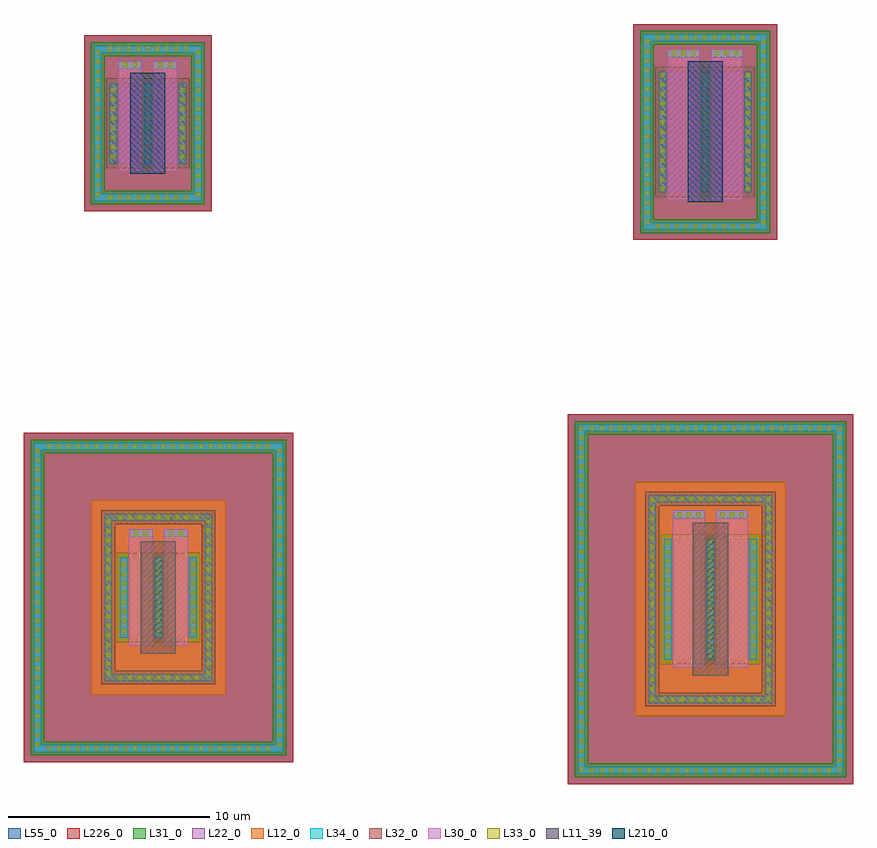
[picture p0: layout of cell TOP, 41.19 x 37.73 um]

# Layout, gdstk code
import gdstk
lib = gdstk.Library(unit=1e-6, precision=1e-09)
def R(c, l, rs):  # rectangles x0, y0, x1, y1
    for r in rs: c.add(gdstk.rectangle(r[:2], r[2:], *l))
def A(c, l, x, y, w, h, nx, ny, dx, dy):  # array of equal rectangles
    R(c, l, [(x+i*dx, y+j*dy, x+i*dx+w, y+j*dy+h) for i in range(nx) for j in range(ny)])
def P(c, l, *ps):  # polygons
    for p in ps: c.add(gdstk.Polygon(p, *l))
L11_39 = (11, 39)
L12_0 = (12, 0)
L22_0 = (22, 0)
L30_0 = (30, 0)
L31_0 = (31, 0)
L32_0 = (32, 0)
L33_0 = (33, 0)
L34_0 = (34, 0)
L55_0 = (55, 0)
L210_0 = (210, 0)
L226_0 = (226, 0)

nfet_10v0_asym = lib.new_cell('nfet_10v0_asym')
R(nfet_10v0_asym, L22_0, [(-1.91,-2,-0.47,2), (-0.11,-2,0.11,2), (0.47,-2,1.91,2)])
P(nfet_10v0_asym, L22_0, [(-2.67,-3.86),(-2.67,3.5),(-2.31,3.5),(-2.31,-3.5),(2.31,-3.5),(2.31,3.5),(-2.67,3.5),(-2.67,3.86),(2.67,3.86),(2.67,-3.86)])
R(nfet_10v0_asym, L30_0, [(-1.47,-2.4,-0.27,3.1), (0.27,-2.4,1.47,3.1)])
P(nfet_10v0_asym, L31_0, [(-2.83,-4.02),(-2.83,3.34),(-2.15,3.34),(-2.15,-3.34),(2.15,-3.34),(2.15,3.34),(-2.83,3.34),(-2.83,4.02),(2.83,4.02),(2.83,-4.02)])
R(nfet_10v0_asym, L32_0, [(-2.07,-2.23,2.07,2.23)])
A(nfet_10v0_asym, L33_0, -1.99, -3.79, 0.22, 0.22, 9, 2, 0.47, 7.36)
A(nfet_10v0_asym, L33_0, -2.6, -3.635, 0.22, 0.22, 1, 16, 0, 0.47)
A(nfet_10v0_asym, L33_0, 2.38, -3.635, 0.22, 0.22, 1, 16, 0, 0.47)
A(nfet_10v0_asym, L33_0, -1.84, -1.755, 0.22, 0.22, 3, 8, 1.73, 0.47)
R(nfet_10v0_asym, L33_0, [(-1.215,2.8,-0.995,3.02), (-0.745,2.8,-0.525,3.02), (0.525,2.8,0.745,3.02), (0.995,2.8,1.215,3.02)])
A(nfet_10v0_asym, L34_0, -1.91, -2, 0.38, 4, 3, 1, 1.72, 0)
R(nfet_10v0_asym, L34_0, [(-1.47,2.72,-0.27,3.1), (0.27,2.72,1.47,3.1)])
P(nfet_10v0_asym, L34_0, [(-2.67,-3.86),(-2.67,3.5),(-2.31,3.5),(-2.31,-3.5),(2.31,-3.5),(2.31,3.5),(-2.67,3.5),(-2.67,3.86),(2.67,3.86),(2.67,-3.86)])
R(nfet_10v0_asym, L55_0, [(-3.17,-4.36,3.17,4.36)])
R(nfet_10v0_asym, L210_0, [(-0.87,-2.5,0.87,2.5)])
R(nfet_10v0_asym, L226_0, [(-3.17,-4.36,3.17,4.36)])

nfet_10v0_asym_2 = lib.new_cell('nfet_10v0_asym$2')
R(nfet_10v0_asym_2, L22_0, [(-2.31,-3,-0.47,3), (-0.11,-3,0.11,3), (0.47,-3,2.31,3)])
P(nfet_10v0_asym_2, L22_0, [(-3.07,-4.86),(-3.07,4.5),(-2.71,4.5),(-2.71,-4.5),(2.71,-4.5),(2.71,4.5),(-3.07,4.5),(-3.07,4.86),(3.07,4.86),(3.07,-4.86)])
R(nfet_10v0_asym_2, L30_0, [(-1.87,-3.4,-0.27,4.1), (0.27,-3.4,1.87,4.1)])
P(nfet_10v0_asym_2, L31_0, [(-3.23,-5.02),(-3.23,4.34),(-2.55,4.34),(-2.55,-4.34),(2.55,-4.34),(2.55,4.34),(-3.23,4.34),(-3.23,5.02),(3.23,5.02),(3.23,-5.02)])
R(nfet_10v0_asym_2, L32_0, [(-2.47,-3.23,2.47,3.23)])
A(nfet_10v0_asym_2, L33_0, -2.46, -4.79, 0.22, 0.22, 11, 2, 0.47, 9.36)
A(nfet_10v0_asym_2, L33_0, -3, -4.575, 0.22, 0.22, 1, 20, 0, 0.47)
A(nfet_10v0_asym_2, L33_0, 2.78, -4.575, 0.22, 0.22, 1, 20, 0, 0.47)
A(nfet_10v0_asym_2, L33_0, -2.24, -2.93, 0.22, 0.22, 3, 13, 2.13, 0.47)
A(nfet_10v0_asym_2, L33_0, -1.65, 3.8, 0.22, 0.22, 3, 1, 0.47, 0)
A(nfet_10v0_asym_2, L33_0, 0.49, 3.8, 0.22, 0.22, 3, 1, 0.47, 0)
A(nfet_10v0_asym_2, L34_0, -2.31, -3, 0.38, 6, 3, 1, 2.12, 0)
R(nfet_10v0_asym_2, L34_0, [(-1.87,3.72,-0.27,4.1), (0.27,3.72,1.87,4.1)])
P(nfet_10v0_asym_2, L34_0, [(-3.07,-4.86),(-3.07,4.5),(-2.71,4.5),(-2.71,-4.5),(2.71,-4.5),(2.71,4.5),(-3.07,4.5),(-3.07,4.86),(3.07,4.86),(3.07,-4.86)])
R(nfet_10v0_asym_2, L55_0, [(-3.57,-5.36,3.57,5.36)])
R(nfet_10v0_asym_2, L210_0, [(-0.87,-3.5,0.87,3.5)])
R(nfet_10v0_asym_2, L226_0, [(-3.57,-5.36,3.57,5.36)])

pfet_10v0_asym_3 = lib.new_cell('pfet_10v0_asym$3')
R(pfet_10v0_asym_3, L11_39, [(-0.87,-2.8,0.87,2.8)])
R(pfet_10v0_asym_3, L12_0, [(-3.33,-4.82,3.33,4.82)])
R(pfet_10v0_asym_3, L22_0, [(-1.91,-2,-0.47,2), (-0.11,-2,0.11,2), (0.47,-2,1.91,2)])
P(pfet_10v0_asym_3, L22_0, [(-2.67,-4.16),(-2.67,3.8),(-2.31,3.8),(-2.31,-3.8),(2.31,-3.8),(2.31,3.8),(-2.67,3.8),(-2.67,4.16),(2.67,4.16),(2.67,-4.16)],
  [(-6.19,-7.68),(-6.19,7.32),(-5.83,7.32),(-5.83,-7.32),(5.83,-7.32),(5.83,7.32),(-6.19,7.32),(-6.19,7.68),(6.19,7.68),(6.19,-7.68)])
R(pfet_10v0_asym_3, L30_0, [(-1.47,-2.4,-0.27,3.4), (0.27,-2.4,1.47,3.4)])
R(pfet_10v0_asym_3, L31_0, [(-2.07,-2.23,2.07,2.23)])
P(pfet_10v0_asym_3, L31_0, [(-6.35,-7.84),(-6.35,7.16),(-5.67,7.16),(-5.67,-7.16),(5.67,-7.16),(5.67,7.16),(-6.35,7.16),(-6.35,7.84),(6.35,7.84),(6.35,-7.84)])
P(pfet_10v0_asym_3, L32_0, [(-2.83,-4.32),(-2.83,3.64),(-2.15,3.64),(-2.15,-3.64),(2.15,-3.64),(2.15,3.64),(-2.83,3.64),(-2.83,4.32),(2.83,4.32),(2.83,-4.32)])
A(pfet_10v0_asym_3, L33_0, -5.515, -7.61, 0.22, 0.22, 24, 2, 0.47, 15)
A(pfet_10v0_asym_3, L33_0, -6.12, -7.395, 0.22, 0.22, 1, 32, 0, 0.47)
A(pfet_10v0_asym_3, L33_0, 5.9, -7.395, 0.22, 0.22, 1, 32, 0, 0.47)
A(pfet_10v0_asym_3, L33_0, -1.99, -4.09, 0.22, 0.22, 9, 2, 0.47, 7.96)
A(pfet_10v0_asym_3, L33_0, -2.6, -3.87, 0.22, 0.22, 1, 17, 0, 0.47)
A(pfet_10v0_asym_3, L33_0, 2.38, -3.87, 0.22, 0.22, 1, 17, 0, 0.47)
A(pfet_10v0_asym_3, L33_0, -1.84, -1.755, 0.22, 0.22, 3, 8, 1.73, 0.47)
R(pfet_10v0_asym_3, L33_0, [(-1.215,3.1,-0.995,3.32), (-0.745,3.1,-0.525,3.32), (0.525,3.1,0.745,3.32), (0.995,3.1,1.215,3.32)])
A(pfet_10v0_asym_3, L34_0, -1.91, -2, 0.38, 4, 3, 1, 1.72, 0)
R(pfet_10v0_asym_3, L34_0, [(-1.47,3.02,-0.27,3.4), (0.27,3.02,1.47,3.4)])
P(pfet_10v0_asym_3, L34_0, [(-2.67,-4.16),(-2.67,3.8),(-2.31,3.8),(-2.31,-3.8),(2.31,-3.8),(2.31,3.8),(-2.67,3.8),(-2.67,4.16),(2.67,4.16),(2.67,-4.16)],
  [(-6.19,-7.68),(-6.19,7.32),(-5.83,7.32),(-5.83,-7.32),(5.83,-7.32),(5.83,7.32),(-6.19,7.32),(-6.19,7.68),(6.19,7.68),(6.19,-7.68)])
R(pfet_10v0_asym_3, L55_0, [(-6.69,-8.18,6.69,8.18)])
R(pfet_10v0_asym_3, L226_0, [(-6.69,-8.18,6.69,8.18)])

pfet_10v0_asym_2 = lib.new_cell('pfet_10v0_asym$2')
R(pfet_10v0_asym_2, L11_39, [(-0.87,-3.8,0.87,3.8)])
R(pfet_10v0_asym_2, L12_0, [(-3.73,-5.82,3.73,5.82)])
R(pfet_10v0_asym_2, L22_0, [(-2.31,-3,-0.47,3), (-0.11,-3,0.11,3), (0.47,-3,2.31,3)])
P(pfet_10v0_asym_2, L22_0, [(-3.07,-5.16),(-3.07,4.8),(-2.71,4.8),(-2.71,-4.8),(2.71,-4.8),(2.71,4.8),(-3.07,4.8),(-3.07,5.16),(3.07,5.16),(3.07,-5.16)],
  [(-6.59,-8.68),(-6.59,8.32),(-6.23,8.32),(-6.23,-8.32),(6.23,-8.32),(6.23,8.32),(-6.59,8.32),(-6.59,8.68),(6.59,8.68),(6.59,-8.68)])
R(pfet_10v0_asym_2, L30_0, [(-1.87,-3.4,-0.27,4.4), (0.27,-3.4,1.87,4.4)])
R(pfet_10v0_asym_2, L31_0, [(-2.47,-3.23,2.47,3.23)])
P(pfet_10v0_asym_2, L31_0, [(-6.75,-8.84),(-6.75,8.16),(-6.07,8.16),(-6.07,-8.16),(6.07,-8.16),(6.07,8.16),(-6.75,8.16),(-6.75,8.84),(6.75,8.84),(6.75,-8.84)])
P(pfet_10v0_asym_2, L32_0, [(-3.23,-5.32),(-3.23,4.64),(-2.55,4.64),(-2.55,-4.64),(2.55,-4.64),(2.55,4.64),(-3.23,4.64),(-3.23,5.32),(3.23,5.32),(3.23,-5.32)])
A(pfet_10v0_asym_2, L33_0, -5.985, -8.61, 0.22, 0.22, 26, 2, 0.47, 17)
A(pfet_10v0_asym_2, L33_0, -6.52, -8.57, 0.22, 0.22, 1, 37, 0, 0.47)
A(pfet_10v0_asym_2, L33_0, 6.3, -8.57, 0.22, 0.22, 1, 37, 0, 0.47)
A(pfet_10v0_asym_2, L33_0, -2.46, -5.09, 0.22, 0.22, 11, 2, 0.47, 9.96)
A(pfet_10v0_asym_2, L33_0, -3, -5.045, 0.22, 0.22, 1, 22, 0, 0.47)
A(pfet_10v0_asym_2, L33_0, 2.78, -5.045, 0.22, 0.22, 1, 22, 0, 0.47)
A(pfet_10v0_asym_2, L33_0, -2.24, -2.93, 0.22, 0.22, 3, 13, 2.13, 0.47)
A(pfet_10v0_asym_2, L33_0, -1.65, 4.1, 0.22, 0.22, 3, 1, 0.47, 0)
A(pfet_10v0_asym_2, L33_0, 0.49, 4.1, 0.22, 0.22, 3, 1, 0.47, 0)
A(pfet_10v0_asym_2, L34_0, -2.31, -3, 0.38, 6, 3, 1, 2.12, 0)
R(pfet_10v0_asym_2, L34_0, [(-1.87,4.02,-0.27,4.4), (0.27,4.02,1.87,4.4)])
P(pfet_10v0_asym_2, L34_0, [(-3.07,-5.16),(-3.07,4.8),(-2.71,4.8),(-2.71,-4.8),(2.71,-4.8),(2.71,4.8),(-3.07,4.8),(-3.07,5.16),(3.07,5.16),(3.07,-5.16)],
  [(-6.59,-8.68),(-6.59,8.32),(-6.23,8.32),(-6.23,-8.32),(6.23,-8.32),(6.23,8.32),(-6.59,8.32),(-6.59,8.68),(6.59,8.68),(6.59,-8.68)])
R(pfet_10v0_asym_2, L55_0, [(-7.09,-9.18,7.09,9.18)])
R(pfet_10v0_asym_2, L226_0, [(-7.09,-9.18,7.09,9.18)])

top = lib.new_cell('TOP')
top.add(gdstk.Reference(nfet_10v0_asym, (-0.34,0.07)))
top.add(gdstk.Reference(nfet_10v0_asym_2, (27.325,-0.36)))
top.add(gdstk.Reference(pfet_10v0_asym_3, (0.185,-23.47)))
top.add(gdstk.Reference(pfet_10v0_asym_2, (27.59,-23.55)))

lib.write_gds('TOP.gds')
